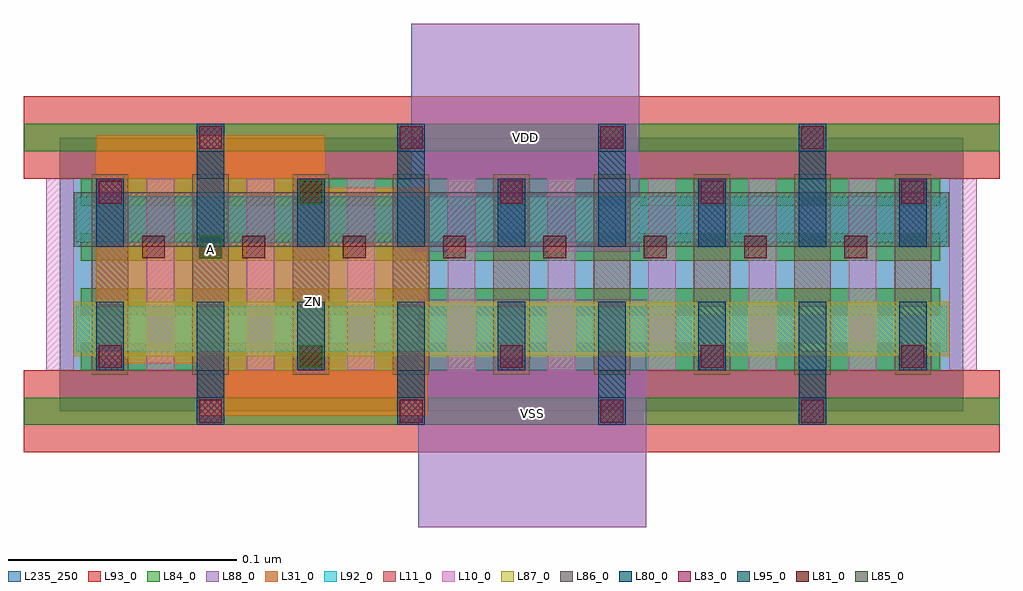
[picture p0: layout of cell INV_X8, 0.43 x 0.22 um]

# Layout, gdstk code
import gdstk
lib = gdstk.Library(unit=1e-6, precision=1e-09)
def R(c, l, rs):  # rectangles x0, y0, x1, y1
    for r in rs: c.add(gdstk.rectangle(r[:2], r[2:], *l))
def A(c, l, x, y, w, h, nx, ny, dx, dy):  # array of equal rectangles
    R(c, l, [(x+i*dx, y+j*dy, x+i*dx+w, y+j*dy+h) for i in range(nx) for j in range(ny)])
L10_0 = (10, 0)
L11_0 = (11, 0)
L31_0 = (31, 0)
L80_0 = (80, 0)
L81_0 = (81, 0)
L83_0 = (83, 0)
L84_0 = (84, 0)
L85_0 = (85, 0)
L86_0 = (86, 0)
L87_0 = (87, 0)
L88_0 = (88, 0)
L92_0 = (92, 0)
L93_0 = (93, 0)
L95_0 = (95, 0)
L235_250 = (235, 250)

inv_x8 = lib.new_cell('INV_X8')
A(inv_x8, L10_0, -0.006, 0.018, 0.012, 0.084, 10, 1, 0.044, 0)
A(inv_x8, L11_0, 0.014, 0.016, 0.016, 0.088, 9, 1, 0.044, 0)
R(inv_x8, L31_0, [(0.061,-0.002,0.161,0.098), (0.016,0.021,0.116,0.121)])
A(inv_x8, L80_0, 0.06, -0.006, 0.012, 0.054, 4, 2, 0.088, 0.078)
A(inv_x8, L80_0, 0.016, 0.018, 0.012, 0.03, 5, 2, 0.088, 0.054)
A(inv_x8, L81_0, 0.036, 0.067, 0.01, 0.01, 8, 1, 0.044, 0)
A(inv_x8, L83_0, 0.061, -0.005, 0.01, 0.01, 4, 2, 0.088, 0.12)
A(inv_x8, L83_0, 0.017, 0.019, 0.01, 0.01, 5, 2, 0.088, 0.072)
A(inv_x8, L84_0, 0.009, 0.018, 0.377, 0.012, 1, 4, 0, 0.024)
R(inv_x8, L84_0, [(-0.016,-0.006,0.412,0.006), (-0.016,0.114,0.412,0.126)])
R(inv_x8, L85_0, [(0.105,0.019,0.115,0.029), (0.061,0.067,0.071,0.077), (0.105,0.091,0.115,0.101)])
R(inv_x8, L86_0, [(0.006,0.072,0.39,0.096)])
R(inv_x8, L87_0, [(0.006,0.024,0.39,0.048)])
R(inv_x8, L88_0, [(0.157,-0.051,0.257,0.049), (0.154,0.07,0.254,0.17)])
R(inv_x8, L92_0, [(0.007,0.026,0.389,0.046), (0.007,0.074,0.389,0.094)])
R(inv_x8, L93_0, [(-0.016,-0.018,0.412,0.018), (-0.016,0.102,0.412,0.138)])
A(inv_x8, L95_0, 0.06, 0.006, 0.012, 0.012, 4, 2, 0.088, 0.096)
R(inv_x8, L235_250, [(0,0,0.396,0.12)])
inv_x8.add(gdstk.Label('VSS', (0.207,-0.001), layer=88, texttype=0))
inv_x8.add(gdstk.Label('VDD', (0.204,0.12), layer=88, texttype=0))
inv_x8.add(gdstk.Label('ZN', (0.111,0.048), layer=31, texttype=0))
inv_x8.add(gdstk.Label('A', (0.066,0.071), layer=31, texttype=0))

lib.write_gds('INV_X8.gds')
